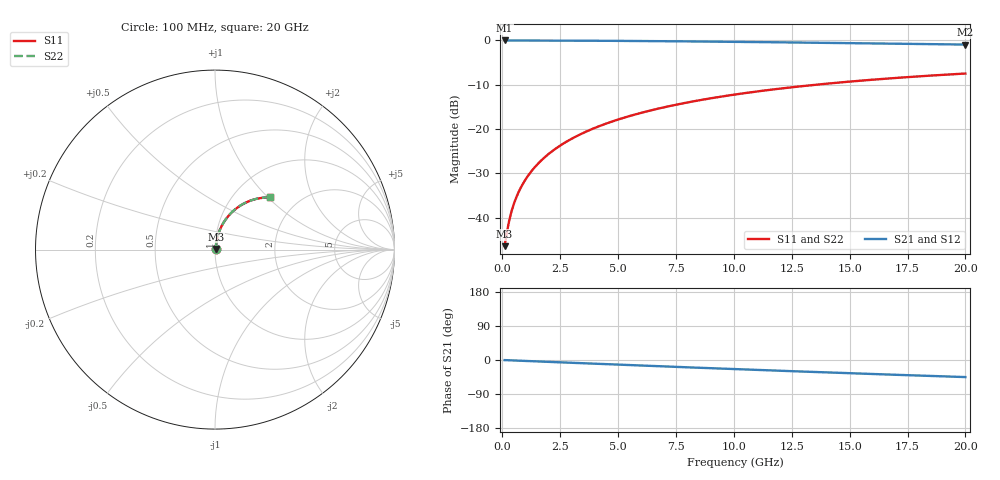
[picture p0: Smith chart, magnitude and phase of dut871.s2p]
! Touchstone file exported from HFSS 2026.1.0
!  File:  C:/ffzhzh/LocalFiles/Ansys_Project_Files/temp_train_TMRDL_871_1783157318_43440.aedt
!  Generated:  05:29:51 PM Jul  4, 2026
!  Design:  TMRDL
!  Project:  temp_train_TMRDL_871_1783157318_43440
! Variables:
!  h_bsmrdl = 2um
!  h_ox = 20um
!  h_rdl = 5um
!  h_sub = 80um
!  h_tmrdl = 2.78um
!  h_tsv = 80um
!  h_via = 3um
!  l_bsmrdl = 300um
!  l_sub = 1045.69um
!  l_tmrdl = 645.69um
!  m_sub = 200um
!  pitch = 51.83um
!  r_tsv = 6um
!  s_tmrdl = 10um
!  w_bsmrdl = 18um
!  w_sub = 500um
!  w_tmrdl = 22.75um
!  x_tsv_center1 = 657.065um
!  x_tsv_center2 = 975.065um
!  x_tsv_center3 = 1643.505um
!  x_tsv_center4 = 1961.505um
!  x_tsv_center5 = 2629.945um
!  x_tsv_center6 = 2947.945um
# GHz S MA R 50.000000
! Terminal data exported
! Port[1] = TM_RDL1_1_T1
! Port[2] = TM_RDL1_1_T2
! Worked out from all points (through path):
!   200 points, 100 MHz to 20 GHz, reference 50 ohm
!   highest |S21| = -0.03 dB at 100 MHz (marker M1); lowest = -1.0 dB at 20 GHz (marker M2)
!   group delay of S21, straight-line fit = 6.27 ps
!   lowest |S11| = -46.4 dB at 100 MHz (marker M3), VSWR 1.01, Z = 50.4 + j0.286 ohm
!   |S11| at or under -10 dB: start of sweep to 13.57 GHz
!   |S22| runs from -46.4 to -7.5 dB; largest |S21 - S12| = 4.4e-15
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0.1  0.004793 36.4  0.9961 -0.3  0.9961 -0.3  0.004793 36.4
! Gamma 0 0 0 0
! Port Impedance 50 0 50 0
0.2  0.006922 54.4  0.996 -0.5  0.996 -0.5  0.006922 54.4
0.3  0.009358 62.9  0.9958 -0.8  0.9958 -0.8  0.009358 62.9
0.4  0.01186 67.6  0.9956 -1.0  0.9956 -1.0  0.01186 67.6
0.5  0.01437 70.6  0.9954 -1.3  0.9954 -1.3  0.01437 70.6
0.6  0.01688 72.7  0.9953 -1.5  0.9953 -1.5  0.01687 72.7
0.8  0.0219 75.4  0.995 -2.0  0.995 -2.0  0.0219 75.4
1.1  0.02948 77.6  0.9947 -2.7  0.9947 -2.7  0.02948 77.6
1.3  0.03455 78.4  0.9944 -3.2  0.9944 -3.2  0.03455 78.4
1.6  0.0422 79.1  0.994 -4.0  0.994 -4.0  0.0422 79.1
2.1  0.05496 79.3  0.9933 -5.2  0.9933 -5.2  0.05496 79.4
2.7  0.07026 78.9  0.9921 -6.6  0.9921 -6.6  0.07026 78.9
3.5  0.09055 77.8  0.9903 -8.6  0.9903 -8.6  0.09055 77.8
4.2  0.1081 76.6  0.9882 -10.3  0.9882 -10.3  0.1081 76.6
5  0.128 75.0  0.9856 -12.2  0.9856 -12.2  0.128 75.0
5.9  0.15 73.1  0.9821 -14.4  0.9821 -14.4  0.15 73.1
6.8  0.1715 71.1  0.9782 -16.5  0.9782 -16.5  0.1715 71.2
8.3  0.2063 67.8  0.9708 -20.0  0.9708 -20.0  0.2063 67.9
10.1  0.2461 63.9  0.9608 -24.1  0.9608 -24.1  0.2461 63.9
13.4  0.313 56.8  0.9401 -31.5  0.9401 -31.5  0.313 56.8
16.7  0.3718 49.9  0.9178 -38.4  0.9178 -38.4  0.3718 50.0
20  0.4224 43.4  0.8954 -45.1  0.8954 -45.1  0.4224 43.5
